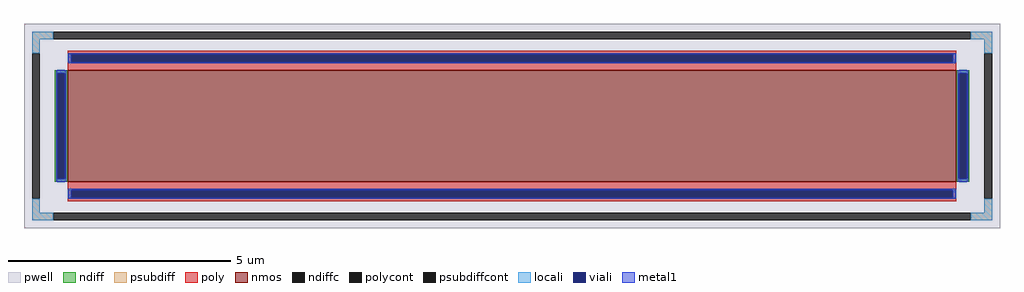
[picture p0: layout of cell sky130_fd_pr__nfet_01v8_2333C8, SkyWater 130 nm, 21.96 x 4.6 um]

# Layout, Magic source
magic
tech sky130A
<< pwell >>
rect -1098 -230 1098 230
<< nmos >>
rect -1000 -125 1000 125
<< ndiff >>
rect -1029 119 -1000 125
rect -1029 -119 -1023 119
rect -1006 -119 -1000 119
rect -1029 -125 -1000 -119
rect 1000 119 1029 125
rect 1000 -119 1006 119
rect 1023 -119 1029 119
rect 1000 -125 1029 -119
<< ndiffc >>
rect -1023 -119 -1006 119
rect 1006 -119 1023 119
<< psubdiff >>
rect -1080 195 -1032 212
rect 1032 195 1080 212
rect -1080 164 -1063 195
rect 1063 164 1080 195
rect -1080 -195 -1063 -164
rect 1063 -195 1080 -164
rect -1080 -212 -1032 -195
rect 1032 -212 1080 -195
<< psubdiffcont >>
rect -1032 195 1032 212
rect -1080 -164 -1063 164
rect 1063 -164 1080 164
rect -1032 -212 1032 -195
<< poly >>
rect -1000 161 1000 169
rect -1000 144 -992 161
rect 992 144 1000 161
rect -1000 125 1000 144
rect -1000 -144 1000 -125
rect -1000 -161 -992 -144
rect 992 -161 1000 -144
rect -1000 -169 1000 -161
<< polycont >>
rect -992 144 992 161
rect -992 -161 992 -144
<< locali >>
rect -1080 195 -1032 212
rect 1032 195 1080 212
rect -1080 164 -1063 195
rect 1063 164 1080 195
rect -1000 144 -992 161
rect 992 144 1000 161
rect -1023 119 -1006 127
rect -1023 -127 -1006 -119
rect 1006 119 1023 127
rect 1006 -127 1023 -119
rect -1000 -161 -992 -144
rect 992 -161 1000 -144
rect -1080 -195 -1063 -164
rect 1063 -195 1080 -164
rect -1080 -212 -1032 -195
rect 1032 -212 1080 -195
<< viali >>
rect -992 144 992 161
rect -1023 -119 -1006 119
rect 1006 -119 1023 119
rect -992 -161 992 -144
<< metal1 >>
rect -998 161 998 164
rect -998 144 -992 161
rect 992 144 998 161
rect -998 141 998 144
rect -1026 119 -1003 125
rect -1026 -119 -1023 119
rect -1006 -119 -1003 119
rect -1026 -125 -1003 -119
rect 1003 119 1026 125
rect 1003 -119 1006 119
rect 1023 -119 1026 119
rect 1003 -125 1026 -119
rect -998 -144 998 -141
rect -998 -161 -992 -144
rect 992 -161 998 -144
rect -998 -164 998 -161
<< properties >>
string FIXED_BBOX -1071 -203 1071 203
string gencell sky130_fd_pr__nfet_01v8
string library sky130
string parameters w 2.5 l 20.0 m 1 nf 1 diffcov 100 polycov 100 guard 1 glc 1 grc 1 gtc 1 gbc 1 tbcov 100 rlcov 100 topc 1 botc 1 poverlap 0 doverlap 1 lmin 0.15 wmin 0.42 compatible {sky130_fd_pr__nfet_01v8 sky130_fd_pr__nfet_01v8_lvt  sky130_fd_bs_flash__special_sonosfet_star  sky130_fd_pr__nfet_g5v0d10v5 sky130_fd_pr__nfet_05v0_nvt  sky130_fd_pr__nfet_03v3_nvt} full_metal 1 viasrc 100 viadrn 100 viagate 100 viagb 0 viagr 0 viagl 0 viagt 0
<< end >>
